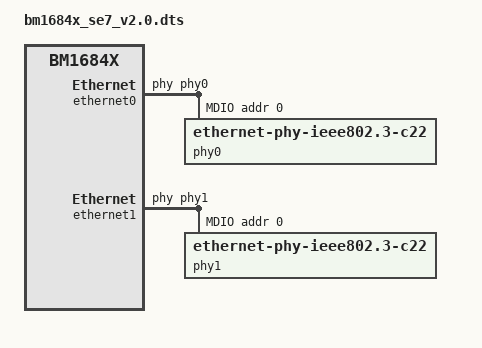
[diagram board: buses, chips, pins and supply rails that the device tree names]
#include "bm1684x.dtsi"
#include "bm1684x_mm_16g.dtsi"
#include "bm1684_se5.dtsi"

/ {
	info {
		file-name = "bm1684x_se7_v2.0.dtb";
	};
	/delete-node/ pka@58008000;
	/delete-node/ clp890@50018000;
	gpio-leds {
		/delete-node/ gpio5;
	};
	gpio-keys {
		/delete-node/ gpio7;
	};
};

&tmp451 {
	gain = "1";
	offset = "-5000";
};

&thermal_zones {
	soc {
		trips {
			/delete-node/ soc_tpuclk440m_trip;
			/delete-node/ soc_tpuclk75m_trip;
		};
		cooling-maps {
			/delete-node/ map0;
			/delete-node/ map1;
		};
	};
};

&soc_crit_trip {
	temperature = <105000>;
};

&clock_init {
	clock-rates = \
		<2300000000>, <950000000>, <800000000>,

		<1000000000>, <1000000000>,
		<2000000000>, <50000000>,
		<100000000>, <100000000>,
		<125000000>, <50000000>,
		<25000000>, <125000000>,
		<50000000>, <25000000>,
		<500000000>, <25000000>,
		<1000000000>, <500000000>,
		<800000000>, <100000000>,
		<250000000>, <250000000>,
		<500000000>, <500000000>,
		<50000000>, <50000000>,
		<50000000>, <50000000>,
		<50000000>, <50000000>,
		<50000000>, <50000000>,
		<100000>, <100000>, <100000>,

		<1000000001>,
		<800000000>, <800000001>,
		<2300000001>, <575000000>;
};

&ethernet0 {
	phy-handle = <&phy0>;
	mdio {
		#address-cells = <0x1>;
		#size-cells = <0x0>;
		compatible = "snps,dwmac-mdio";
		phy0: phy@0 {
			rx-internal-delay-ps = <750>;
			compatible = "ethernet-phy-ieee802.3-c22";
			device_type = "ethernet-phy";
			led0_config = <0x7>;
			led1_config = <0x19f0>;
			led2_config = <0x0>;
			reg = <0x0>;
		};
	};
};

&ethernet1 {
	phy-handle = <&phy1>;
	mdio {
		#address-cells = <0x1>;
		#size-cells = <0x0>;
		compatible = "snps,dwmac-mdio";
		phy1: phy@1 {
			rx-internal-delay-ps = <1200>;
			compatible = "ethernet-phy-ieee802.3-c22";
			device_type = "ethernet-phy";
			led0_config = <0x7>;
			led1_config = <0x19f0>;
			led2_config = <0x0>;
			reg = <0x0>;
		};
	};
};
